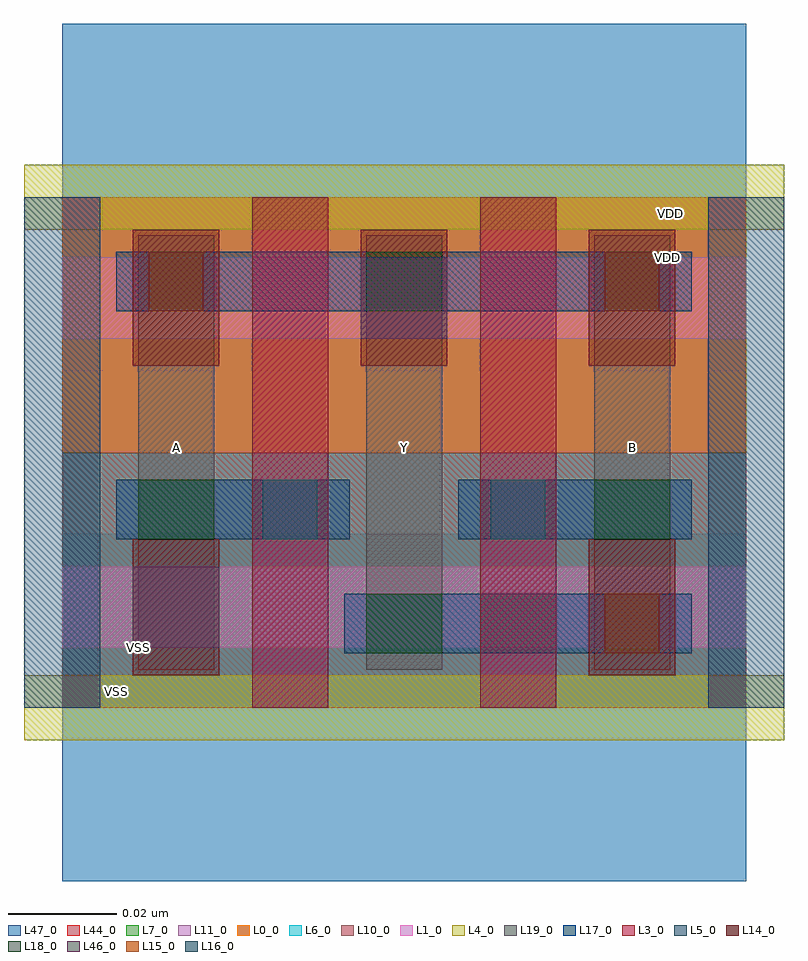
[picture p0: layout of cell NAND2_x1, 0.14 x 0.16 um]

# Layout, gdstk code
import gdstk
lib = gdstk.Library(unit=1e-6, precision=5e-10)
def R(c, l, rs):  # rectangles x0, y0, x1, y1
    for r in rs: c.add(gdstk.rectangle(r[:2], r[2:], *l))
def A(c, l, x, y, w, h, nx, ny, dx, dy):  # array of equal rectangles
    R(c, l, [(x+i*dx, y+j*dy, x+i*dx+w, y+j*dy+h) for i in range(nx) for j in range(ny)])
L0_0 = (0, 0)
L1_0 = (1, 0)
L3_0 = (3, 0)
L4_0 = (4, 0)
L5_0 = (5, 0)
L6_0 = (6, 0)
L7_0 = (7, 0)
L10_0 = (10, 0)
L11_0 = (11, 0)
L14_0 = (14, 0)
L15_0 = (15, 0)
L16_0 = (16, 0)
L17_0 = (17, 0)
L18_0 = (18, 0)
L19_0 = (19, 0)
L44_0 = (44, 0)
L46_0 = (46, 0)
L47_0 = (47, 0)

nand2_x1 = lib.new_cell('NAND2_x1')
R(nand2_x1, L0_0, [(0,0.047,0.126,0.094)])
R(nand2_x1, L1_0, [(0,0.011,0.126,0.026), (0,0.068,0.126,0.083)])
R(nand2_x1, L3_0, [(0.035,0,0.049,0.094), (0.077,0,0.091,0.094)])
R(nand2_x1, L4_0, [(-0.007,-0.006,0.133,0.006), (-0.007,0.088,0.133,0.1)])
R(nand2_x1, L5_0, [(-0.007,0,0.007,0.094), (0.119,0,0.133,0.094)])
R(nand2_x1, L6_0, [(0,0,0.126,0.047)])
R(nand2_x1, L7_0, [(0,0.047,0.126,0.094)])
R(nand2_x1, L10_0, [(0,0,0.126,0.047)])
R(nand2_x1, L11_0, [(0,0.047,0.126,0.094)])
A(nand2_x1, L14_0, 0.013, 0.063, 0.016, 0.025, 3, 1, 0.042, 0)
R(nand2_x1, L14_0, [(0.013,0.006,0.029,0.031), (0.097,0.006,0.113,0.031)])
R(nand2_x1, L15_0, [(0.1,0.01,0.11,0.021), (0.016,0.073,0.026,0.084), (0.1,0.073,0.11,0.084)])
R(nand2_x1, L16_0, [(0.037,0.031,0.047,0.042), (0.079,0.031,0.089,0.042)])
R(nand2_x1, L17_0, [(0.052,0.01,0.116,0.021), (0.01,0.031,0.053,0.042), (0.073,0.031,0.116,0.042), (0.01,0.073,0.116,0.084)])
R(nand2_x1, L18_0, [(0.056,0.01,0.07,0.021), (0.014,0.031,0.028,0.042), (0.098,0.031,0.112,0.042), (0.056,0.073,0.07,0.084)])
A(nand2_x1, L19_0, 0.014, 0.007, 0.014, 0.08, 3, 1, 0.042, 0)
R(nand2_x1, L44_0, [(0,0,0.126,0.094)])
R(nand2_x1, L46_0, [(0.013,0.011,0.029,0.026), (0.055,0.068,0.071,0.083)])
R(nand2_x1, L47_0, [(0,-0.032,0.126,0.032), (0,0.062,0.126,0.126)])
nand2_x1.add(gdstk.Label('VSS', (0.01,0.003), layer=54, texttype=2))
nand2_x1.add(gdstk.Label('Y', (0.063,0.048), layer=19, texttype=2))
nand2_x1.add(gdstk.Label('B', (0.105,0.048), layer=19, texttype=2))
nand2_x1.add(gdstk.Label('A', (0.021,0.048), layer=19, texttype=2))
nand2_x1.add(gdstk.Label('VDD', (0.112,0.091), layer=0, texttype=2))
nand2_x1.add(gdstk.Label('VSS', (0.014,0.011), layer=47, texttype=2))
nand2_x1.add(gdstk.Label('VDD', (0.1115,0.083), layer=47, texttype=2))

lib.write_gds('NAND2_x1.gds')
